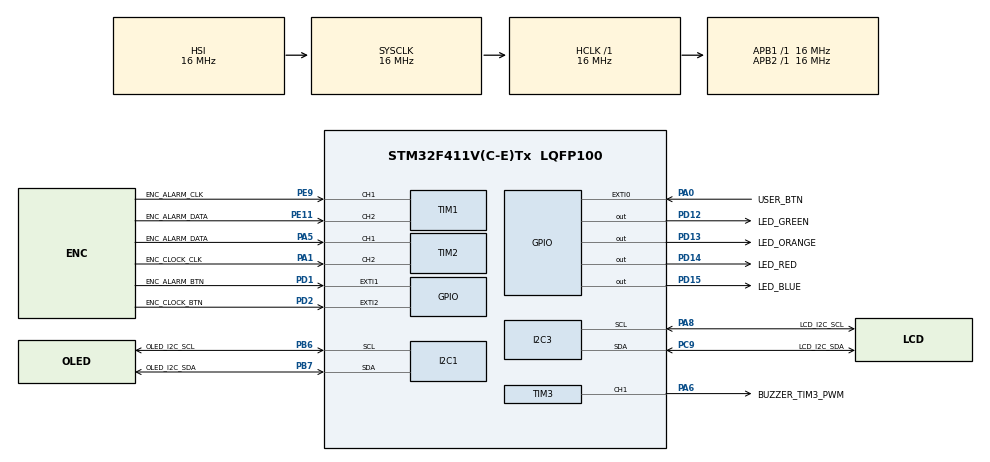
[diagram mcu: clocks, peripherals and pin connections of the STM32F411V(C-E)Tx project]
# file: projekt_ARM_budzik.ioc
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Dma.I2C1_TX.0.Direction=DMA_MEMORY_TO_PERIPH
Dma.I2C1_TX.0.FIFOMode=DMA_FIFOMODE_DISABLE
Dma.I2C1_TX.0.Instance=DMA1_Stream1
Dma.I2C1_TX.0.MemDataAlignment=DMA_MDATAALIGN_BYTE
Dma.I2C1_TX.0.MemInc=DMA_MINC_ENABLE
Dma.I2C1_TX.0.Mode=DMA_NORMAL
Dma.I2C1_TX.0.PeriphDataAlignment=DMA_PDATAALIGN_BYTE
Dma.I2C1_TX.0.PeriphInc=DMA_PINC_DISABLE
Dma.I2C1_TX.0.Priority=DMA_PRIORITY_MEDIUM
Dma.I2C3_TX.1.Direction=DMA_MEMORY_TO_PERIPH
Dma.I2C3_TX.1.FIFOMode=DMA_FIFOMODE_DISABLE
Dma.I2C3_TX.1.Instance=DMA1_Stream4
Dma.I2C3_TX.1.MemDataAlignment=DMA_MDATAALIGN_BYTE
Dma.I2C3_TX.1.MemInc=DMA_MINC_ENABLE
Dma.I2C3_TX.1.Mode=DMA_NORMAL
Dma.I2C3_TX.1.PeriphDataAlignment=DMA_PDATAALIGN_BYTE
Dma.I2C3_TX.1.PeriphInc=DMA_PINC_DISABLE
Dma.I2C3_TX.1.Priority=DMA_PRIORITY_LOW
Dma.Request0=I2C1_TX
Dma.Request1=I2C3_TX
I2C1.I2C_Mode=I2C_Fast
I2C3.I2C_Mode=I2C_Fast
Mcu.Family=STM32F4
Mcu.Name=STM32F411V(C-E)Tx
Mcu.Package=LQFP100
NVIC.DMA1_Stream1_IRQn=true\:0\:0\:false\:false\:true\:false\:true\:true
NVIC.DMA1_Stream4_IRQn=true\:0\:0\:false\:false\:true\:false\:true\:true
NVIC.EXTI0_IRQn=true\:0\:0\:false\:false\:true\:true\:true\:true
NVIC.EXTI1_IRQn=true\:0\:0\:false\:false\:true\:true\:true\:true
NVIC.EXTI2_IRQn=true\:0\:0\:false\:false\:true\:true\:true\:true
NVIC.I2C1_EV_IRQn=true\:0\:0\:false\:false\:true\:true\:true\:true
NVIC.I2C3_EV_IRQn=true\:0\:0\:false\:false\:true\:true\:true\:true
NVIC.PriorityGroup=NVIC_PRIORITYGROUP_4
NVIC.RTC_Alarm_IRQn=true\:0\:0\:false\:false\:true\:true\:true\:true
NVIC.TIM1_BRK_TIM9_IRQn=true\:0\:0\:false\:false\:true\:true\:true\:true
NVIC.TIM1_UP_TIM10_IRQn=true\:0\:0\:false\:false\:true\:true\:true\:true
NVIC.TIM3_IRQn=true\:0\:0\:false\:false\:true\:true\:true\:true
NVIC.TIM4_IRQn=true\:0\:0\:false\:false\:true\:true\:true\:true
PA0-WKUP.GPIO_Label=USER_BTN
PA0-WKUP.Signal=GPXTI0
PA1.GPIO_Label=ENC_CLOCK_CLK
PA1.Signal=S_TIM2_CH2
PA13.Mode=Serial_Wire
PA13.Signal=SYS_JTMS-SWDIO
PA14.Mode=Serial_Wire
PA14.Signal=SYS_JTCK-SWCLK
PA5.GPIO_Label=ENC_ALARM_DATA
PA5.Signal=S_TIM2_CH1_ETR
PA6.GPIO_Label=BUZZER_TIM3_PWM
PA6.Signal=S_TIM3_CH1
PA8.GPIO_Label=LCD_I2C_SCL
PA8.Mode=I2C
PA8.Signal=I2C3_SCL
PB6.GPIO_Label=OLED_I2C_SCL
PB6.GPIO_Pu=GPIO_NOPULL
PB6.Mode=I2C
PB6.Signal=I2C1_SCL
PB7.GPIO_Label=OLED_I2C_SDA
PB7.GPIO_Pu=GPIO_NOPULL
PB7.Mode=I2C
PB7.Signal=I2C1_SDA
PC9.GPIO_Label=LCD_I2C_SDA
PC9.Mode=I2C
PC9.Signal=I2C3_SDA
PD1.GPIO_Label=ENC_ALARM_BTN
PD1.GPIO_ModeDefaultEXTI=GPIO_MODE_IT_FALLING
PD1.GPIO_PuPd=GPIO_PULLUP
PD1.Signal=GPXTI1
PD12.GPIO_Label=LED_GREEN
PD12.Signal=GPIO_Output
PD13.GPIO_Label=LED_ORANGE
PD13.Signal=GPIO_Output
PD14.GPIO_Label=LED_RED
PD14.Signal=GPIO_Output
PD15.GPIO_Label=LED_BLUE
PD15.Signal=GPIO_Output
PD2.GPIO_Label=ENC_CLOCK_BTN
PD2.GPIO_ModeDefaultEXTI=GPIO_MODE_IT_FALLING
PD2.GPIO_PuPd=GPIO_PULLUP
PD2.Signal=GPXTI2
PE11.GPIO_Label=ENC_ALARM_DATA
PE11.Signal=S_TIM1_CH2
PE9.GPIO_Label=ENC_ALARM_CLK
PE9.Signal=S_TIM1_CH1
ProjectManager.HeapSize=0x200
ProjectManager.StackSize=0x400
ProjectManager.TargetToolchain=STM32CubeIDE
RCC.AHBFreq_Value=16000000
RCC.APB1Freq_Value=16000000
RCC.APB2Freq_Value=16000000
RCC.CortexFreq_Value=16000000
RCC.HSE_VALUE=25000000
RCC.HSI_VALUE=16000000
RCC.LSE_VALUE=32768
RCC.SYSCLKFreq_VALUE=16000000
RCC.VCOOutputFreq_Value=192000000
RTC.Alarm=RTC_ALARM_A
RTC.AlarmDateWeekDay=20
RTC.Date=20
RTC.Hours=19
RTC.Hours_A=19
RTC.Minutes=0
RTC.Month=RTC_MONTH_JUNE
RTC.Seconds=0
RTC.Seconds_A=10
RTC.WeekDay=RTC_WEEKDAY_FRIDAY
RTC.Year=25
SH.S_TIM1_CH1.0=TIM1_CH1,Encoder_Interface
SH.S_TIM1_CH2.0=TIM1_CH2,Encoder_Interface
SH.S_TIM2_CH1_ETR.0=TIM2_CH1,Encoder_Interface
SH.S_TIM2_CH2.0=TIM2_CH2,Encoder_Interface
SH.S_TIM3_CH1.0=TIM3_CH1,PWM Generation1 CH1
TIM3.AutoReloadPreload=TIM_AUTORELOAD_PRELOAD_ENABLE
TIM3.Channel-PWM\ Generation1\ CH1=TIM_CHANNEL_1
TIM3.Period=65000
TIM3.Prescaler=32
TIM3.Pulse-PWM\ Generation1\ CH1=500
TIM4.AutoReloadPreload=TIM_AUTORELOAD_PRELOAD_ENABLE
TIM4.Channel-Output\ Compare1\ No\ Output=TIM_CHANNEL_1
TIM4.Period=10000
TIM4.Prescaler=16
TIM4.Pulse-Output\ Compare1\ No\ Output=5000
VP_RTC_VS_RTC_Activate.Mode=RTC_Enabled
VP_RTC_VS_RTC_Alarm_A_Intern.Mode=Alarm A
VP_RTC_VS_RTC_Calendar.Mode=RTC_Calendar
VP_TIM4_VS_no_output1.Mode=Output Compare1 No Output
board=custom

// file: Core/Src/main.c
/* USER CODE BEGIN Header */
/**
  ******************************************************************************
  * @file           : main.c
  * @brief          : Main program body
  ******************************************************************************
  * @attention
  *
  * Copyright (c) 2025 STMicroelectronics.
  * All rights reserved.
  *
  * This software is licensed under terms that can be found in the LICENSE file
  * in the root directory of this software component.
  * If no LICENSE file comes with this software, it is provided AS-IS.
  *
  ******************************************************************************
  */
/* USER CODE END Header */
#include "main.h"
#include "dma.h"
#include "i2c.h"
#include "rtc.h"
#include "tim.h"
#include "gpio.h"

/* USER CODE BEGIN Includes */
#include <stdio.h>
#include "oled.h"
#include "lcd_i2c.h"
/* USER CODE END Includes */

void SystemClock_Config(void);

/* USER CODE BEGIN 0 */

int __io_putchar(int ch) {
	ITM_SendChar(ch);
	return ch;
}

uint8_t to_bcd(uint8_t dec) {
    return ((dec / 10) << 4) | (dec % 10);
}

int8_t counter = 0;
uint16_t cursor_cnt = 0;

char time_str[32];
char time_hour_str[16], time_minute_str[16];

extern TIM_HandleTypeDef htim1;

SelectionMode_TypeDef alarm_selection_mode = SELECTION_HOUR;
SelectionMode_TypeDef clock_selection_mode = SELECTION_HOUR;

State_TypeDef current_state = STATE_EDIT_CLOCK;

AlarmConfig_TypeDef alarm_config = {0};
ClockConfig_TypeDef clock_config = {0};

bool is_update_lcd = false, is_lcd_cls = false, is_oled_cls = false;

/* USER CODE END 0 */

int main(void)
{

  /* USER CODE BEGIN 1 */
   alarm_config.enabled = false;
   alarm_config.dismissed = false;
   clock_config.hours = 0;
   clock_config.minutes = 0;
   clock_config.seconds = 0;
   clock_config.date = 1;
   clock_config.month = 1;
   clock_config.year = 25;
  /* USER CODE END 1 */

  /* MCU Configuration--------------------------------------------------------*/

  /* Reset of all peripherals, Initializes the Flash interface and the Systick. */
  HAL_Init();

  /* Configure the system clock */
  SystemClock_Config();

  /* Initialize all configured peripherals */
  MX_GPIO_Init();
  MX_DMA_Init();
  MX_I2C1_Init();
  MX_TIM1_Init();
  MX_RTC_Init();
  MX_TIM3_Init();
  MX_I2C3_Init();
  MX_TIM4_Init();
  MX_TIM2_Init();
  /* USER CODE BEGIN 2 */

  OLED_init();
  LCD_init(&hi2c3);

  HAL_TIM_OC_Start_IT(&htim4, TIM_CHANNEL_1);

  /* USER CODE END 2 */

  /* Infinite loop */
  while (1)
  {

    /* USER CODE BEGIN 3 */
	  LCD_update();
	  ENC_ALARM_update();
	  OLED_update();
	  ENC_CLOCK_update();
  }
  /* USER CODE END 3 */
}

void SystemClock_Config(void)
{
  RCC_OscInitTypeDef RCC_OscInitStruct = {0};
  RCC_ClkInitTypeDef RCC_ClkInitStruct = {0};

  /** Configure the main internal regulator output voltage
  */
  __HAL_RCC_PWR_CLK_ENABLE();
  __HAL_PWR_VOLTAGESCALING_CONFIG(PWR_REGULATOR_VOLTAGE_SCALE1);

  /** Initializes the RCC Oscillators according to the specified parameters
  * in the RCC_OscInitTypeDef structure.
  */
  RCC_OscInitStruct.OscillatorType = RCC_OSCILLATORTYPE_HSI|RCC_OSCILLATORTYPE_LSI;
  RCC_OscInitStruct.HSIState = RCC_HSI_ON;
  RCC_OscInitStruct.HSICalibrationValue = RCC_HSICALIBRATION_DEFAULT;
  RCC_OscInitStruct.LSIState = RCC_LSI_ON;
  RCC_OscInitStruct.PLL.PLLState = RCC_PLL_NONE;
  if (HAL_RCC_OscConfig(&RCC_OscInitStruct) != HAL_OK)
  {
    Error_Handler();
  }

  /** Initializes the CPU, AHB and APB buses clocks
  */
  RCC_ClkInitStruct.ClockType = RCC_CLOCKTYPE_HCLK|RCC_CLOCKTYPE_SYSCLK
                              |RCC_CLOCKTYPE_PCLK1|RCC_CLOCKTYPE_PCLK2;
  RCC_ClkInitStruct.SYSCLKSource = RCC_SYSCLKSOURCE_HSI;
  RCC_ClkInitStruct.AHBCLKDivider = RCC_SYSCLK_DIV1;
  RCC_ClkInitStruct.APB1CLKDivider = RCC_HCLK_DIV1;
  RCC_ClkInitStruct.APB2CLKDivider = RCC_HCLK_DIV1;

  if (HAL_RCC_ClockConfig(&RCC_ClkInitStruct, FLASH_LATENCY_0) != HAL_OK)
  {
    Error_Handler();
  }
}

/* USER CODE BEGIN 4 */

void OLED_show_edit_alarm_screen(void) {
    OLED_print("Godzina alarmu", 0, OLED_ROW_1, 1);

	if(alarm_selection_mode != SELECTION_NONE) {

    	if(alarm_selection_mode == SELECTION_HOUR) {

    		if(cursor_cnt < 40) {
    			sprintf(time_hour_str, "%02d", alarm_config.hours);
    		} else {
    			sprintf(time_hour_str, "%s", "  ");
    		}
    		sprintf(time_minute_str, "%02d", alarm_config.minutes);

    	} else {

    		if(cursor_cnt < 40) {
        		sprintf(time_minute_str, "%02d", alarm_config.minutes);
			} else {
				sprintf(time_minute_str, "%s", "  ");
			}
    		sprintf(time_hour_str, "%02d", alarm_config.hours);
    	}

    } else {
		sprintf(time_hour_str, "%02d", alarm_config.hours);
		sprintf(time_minute_str, "%02d", alarm_config.minutes);
    }

	if(cursor_cnt > 50) cursor_cnt = 0;
	else cursor_cnt++;

	sprintf(time_str, "%s:%s", time_hour_str, time_minute_str);
	OLED_print(time_str, 0, OLED_ROW_5, 2);
}

void OLED_show_alarm_countdown_screen() {
	char buffer[32];
	RTC_TimeTypeDef sTime;
	HAL_RTC_GetTime(&hrtc, &sTime, RTC_FORMAT_BIN);

	if(alarm_config.hours - sTime.Hours >= 0 && alarm_config.minutes - sTime.Minutes >= 0) {
		OLED_print("Alarm zadzwoni za", 0, OLED_ROW_1, 1);

		sprintf(buffer, "%d godz. %d min.", alarm_config.hours - sTime.Hours, alarm_config.minutes - sTime.Minutes);
		OLED_print(buffer, 0, OLED_ROW_3, 1);
	} else {
		OLED_print("Alarm nie zosta\314", 0, OLED_ROW_3, 1);
		OLED_print("ustawiony", 0, OLED_ROW_4, 1);
	}
}

void OLED_update(void) {
	if(is_oled_cls) {
		SSD1306_display_clear();
		SSD1306_display_repaint();
		is_oled_cls = false;
	}

    if(current_state == STATE_EDIT_ALARM) {
    	OLED_show_edit_alarm_screen();
    }
    else {
        OLED_show_alarm_countdown_screen();
    }
}

void ENC_ALARM_update(void) {
	static uint16_t last_cnt = 0;
	int diff = htim1.Instance->CNT - last_cnt;

	if(diff >= 4 || diff <= -4) {
		diff /= 4;

		switch(alarm_selection_mode) {
			case SELECTION_HOUR:
				alarm_config.hours += (int8_t)diff;

				if(alarm_config.hours > 23) alarm_config.hours = 0;
				if (alarm_config.hours < 0) alarm_config.hours = 23;
				break;
			case SELECTION_MINUTE:
				alarm_config.minutes += (int8_t)diff;

				if(alarm_config.minutes > 59) alarm_config.minutes = 0;
				if (alarm_config.minutes < 0) alarm_config.minutes = 59;
			default:
				break;
		}

		last_cnt = htim1.Instance->CNT;
	}
}

void ENC_CLOCK_update(void) {
	static uint16_t last_cnt_clock = 0;
	int diff = htim2.Instance->CNT - last_cnt_clock;

	if(diff >= 4 || diff <= -4) {
		diff /= 4;

		printf("Clock: %d \n", diff);

		switch(clock_selection_mode) {
			case SELECTION_HOUR:
				clock_config.hours += (int8_t)diff;

				if(clock_config.hours > 23) clock_config.hours = 0;
				if (clock_config.hours < 0) clock_config.hours = 23;
				break;

			case SELECTION_MINUTE:
				clock_config.minutes += (int8_t)diff;

				if(clock_config.minutes > 59) clock_config.minutes = 0;
				if (clock_config.minutes < 0) clock_config.minutes = 59;
				break;

			case SELECTION_SECONDS:
				clock_config.seconds += (int8_t)diff;

				if(clock_config.seconds > 59) clock_config.seconds = 0;
				if (clock_config.seconds < 0) clock_config.seconds = 59;
				break;

			case SELECTION_DATE:
				clock_config.date += (int8_t)diff;

				if(clock_config.date > 31) clock_config.date = 1;
				if (clock_config.date < 1) clock_config.date = 31;
				break;

			case SELECTION_MONTH:
				clock_config.month += (int8_t)diff;

				if(clock_config.month > 12) clock_config.month = 1;
				if (clock_config.month < 1) clock_config.month = 12;
				break;

			case SELECTION_YEAR:
				clock_config.year += (int8_t)diff;

				if(clock_config.year > 30) clock_config.year = 25;
				if (clock_config.year < 25) clock_config.year = 30;
			default:
				break;
		}

		last_cnt_clock = htim2.Instance->CNT;
	}
}

void LCD_show_clock_screen() {
	RTC_TimeTypeDef sTime;
	RTC_DateTypeDef sDate;
	HAL_RTC_GetTime(&hrtc, &sTime, RTC_FORMAT_BIN);
	HAL_RTC_GetDate(&hrtc, &sDate, RTC_FORMAT_BIN);

	char buffer[64];
	sprintf(buffer, "%02d:%02d:%02d", sTime.Hours, sTime.Minutes, sTime.Seconds);
	LCD_put_cursor(0, 6);
	LCD_send_string(buffer);

	sprintf(buffer, "%02d.%02d.%d", sDate.Date, sDate.Month, 2000 + sDate.Year);
	LCD_put_cursor(2, 5);
	LCD_send_string(buffer);
}

void LCD_show_edit_clock_screen() {
	char buffer[64];

	LCD_put_cursor(0, 0);
	LCD_send_string("Godzina");
	LCD_put_cursor(0, 10);
	LCD_send_string("Data");
	LCD_put_cursor(3, 0);
	LCD_send_string("Zapisz - User Button");

	sprintf(buffer, "%02d:%02d:%02d", clock_config.hours, clock_config.minutes, clock_config.seconds);
	LCD_put_cursor(1, 0);
	LCD_send_string(buffer);

	sprintf(buffer, "%02d.%02d.%d", clock_config.date, clock_config.month, 2000 + clock_config.year);
	LCD_put_cursor(1, 10);
	LCD_send_string(buffer);

	switch(clock_selection_mode) {
		case SELECTION_HOUR:
			LCD_clear_row(2);
			LCD_put_cursor(2, 0);
			LCD_send_string("^^");
			break;

		case SELECTION_MINUTE:
			LCD_clear_row(2);
			LCD_put_cursor(2, 3);
			LCD_send_string("^^");;
			break;

		case SELECTION_SECONDS:
			LCD_clear_row(2);
			LCD_put_cursor(2, 6);
			LCD_send_string("^^");
			break;

		case SELECTION_DATE:
			LCD_clear_row(2);
			LCD_put_cursor(2, 10);
			LCD_send_string("^^");
			break;

		case SELECTION_MONTH:
			LCD_clear_row(2);
			LCD_put_cursor(2, 13);
			LCD_send_string("^^");
			break;

		case SELECTION_YEAR:
			LCD_clear_row(2);
			LCD_put_cursor(2, 18);
			LCD_send_string("^^");

		default:
			break;
	}
}

void LCD_show_alarm_screen() {
	LCD_put_cursor(2, 2);
	LCD_send_string("     ALARM    ");
	HAL_Delay(150);
	LCD_put_cursor(2, 2);
	LCD_send_string("   ! ALARM !  ");
	HAL_Delay(150);
	LCD_put_cursor(2, 2);
	LCD_send_string("  !! ALARM !! ");
	HAL_Delay(150);
	LCD_put_cursor(2, 2);
	LCD_send_string(" !!! ALARM !!!");
	HAL_Delay(150);
}

void LCD_update(void) {
	if(is_lcd_cls) {
		is_lcd_cls = false;
		LCD_clear();
	}

	if(current_state == STATE_ALARM) {
		LCD_show_alarm_screen();
	}
	else if(current_state == STATE_EDIT_CLOCK) {
		LCD_show_edit_clock_screen();
	} else {
		if(alarm_config.dismissed) {
			alarm_config.dismissed = false;
			LCD_clear();
			LCD_put_cursor(2, 2);
			LCD_send_string("ALARM ODRZUCONY!");
			HAL_Delay(800);
			LCD_clear();
		}
		LCD_show_clock_screen();
	}
}

/* USER CODE END 4 */

void Error_Handler(void)
{
  __disable_irq();
  while (1)
  {
  }
}
